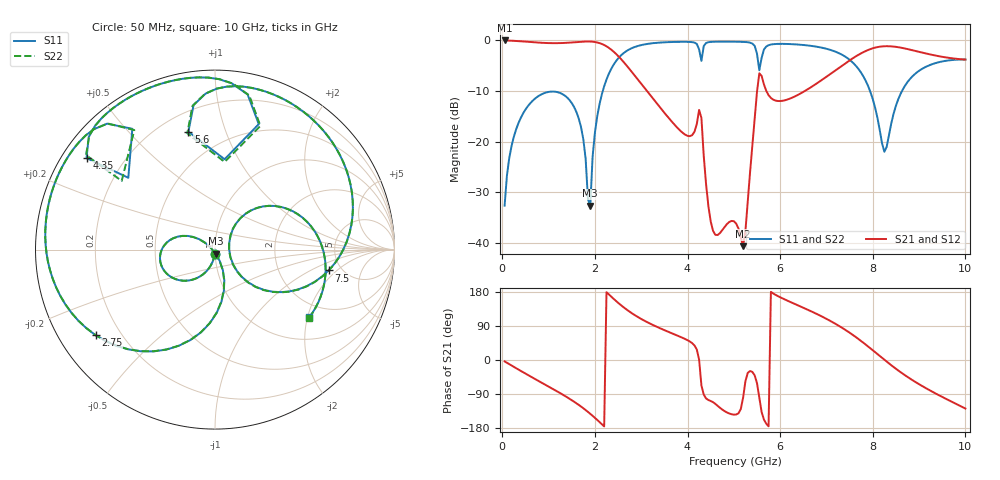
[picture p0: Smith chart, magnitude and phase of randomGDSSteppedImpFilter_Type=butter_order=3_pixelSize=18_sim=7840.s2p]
! freq	dB(S11)	phase(S11)	dB(S12)	phase(S12)
!  dB(S21)	phase(S21)	dB(S22)	phase(S22)
!S-par simulation data
#  GHz  S  DB  R 50
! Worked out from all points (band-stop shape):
!   200 points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, 50 MHz to 10 GHz, reference 50 ohm
!   highest |S21| = -0.01 dB at 50 MHz (marker M1); lowest = -40.7 dB at 5.2 GHz (marker M2)
!   |S21| within 3 dB of the highest: start of sweep to 2.494 GHz; 7.66 GHz to 9.363 GHz (1.703 GHz wide, 20 % of centre)
!   lowest |S11| = -32.7 dB at 1.9 GHz (marker M3), VSWR 1.05, Z = 50.3 - j2.31 ohm
!   |S11| at or under -10 dB: start of sweep to 2.171 GHz; 7.941 GHz to 8.632 GHz (690.9 MHz wide, 8.34 % of centre)
!   |S22| runs from -32.7 to -0.2 dB; largest |S21 - S12| = 0
!   S11 on the Smith chart (normalised r, x): 50 MHz: 1.00, -0.05; 2.75 GHz: 0.11, -0.32; 4.35 GHz: 0.07, +0.32; 5.6 GHz: 0.31, +0.75; 7.5 GHz: 3.95, -1.57; 10 GHz: 1.58, -2.05
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0.05  -32.67 -93.4  -0.01 -3.7  -0.01 -3.7  -32.67 -93.4
0.25  -19.02 -108.5  -0.08 -18.2  -0.08 -18.2  -19.02 -108.5
0.7  -11.56 -140.1  -0.38 -49.7  -0.38 -49.7  -11.56 -140.1
1.75  -19.57 146.6  -0.24 -127.3  -0.24 -127.3  -19.57 146.9
1.9  -32.68 -80.7  -0.23 -142.0  -0.23 -142.0  -32.55 -82.3
2  -18.22 -69.0  -0.32 -152.6  -0.32 -152.6  -18.22 -69.4
2.15  -10.65 -83.0  -0.71 -169.5  -0.71 -169.5  -10.65 -83.2
2.75  -1.74 -144.4  -5.70 127.4  -5.70 127.4  -1.74 -144.5
3.4  -0.43 173.3  -13.19 84.1  -13.19 84.1  -0.43 173.2
4.25  -1.77 124.4  -13.74 0.9  -13.74 0.9  -1.90 124.0
4.35  -1.12 144.5  -22.82 -91.3  -22.82 -91.3  -1.00 143.8
4.55  -0.27 128.3  -37.62 -111.3  -37.62 -111.3  -0.26 128.1
5.05  -0.26 105.6  -36.20 -143.8  -36.20 -143.8  -0.26 105.4
5.2  -0.29 98.2  -40.67 -99.3  -40.67 -99.3  -0.30 97.9
5.5  -2.61 70.8  -10.14 -61.1  -10.14 -61.1  -2.69 69.9
5.6  -3.44 102.7  -7.02 -137.5  -7.02 -137.5  -3.53 103.4
5.9  -0.71 80.0  -11.89 171.9  -11.89 171.9  -0.71 80.1
6.7  -1.12 39.6  -9.05 126.8  -9.05 126.8  -1.12 39.6
7.5  -3.83 -10.4  -3.95 72.1  -3.95 72.1  -3.83 -10.6
8.35  -18.67 41.8  -1.15 -9.1  -1.15 -9.1  -18.72 42.1
9  -6.00 23.3  -2.26 -63.9  -2.26 -63.9  -6.01 23.3
10  -3.78 -35.7  -3.79 -128.1  -3.79 -128.1  -3.78 -35.9
